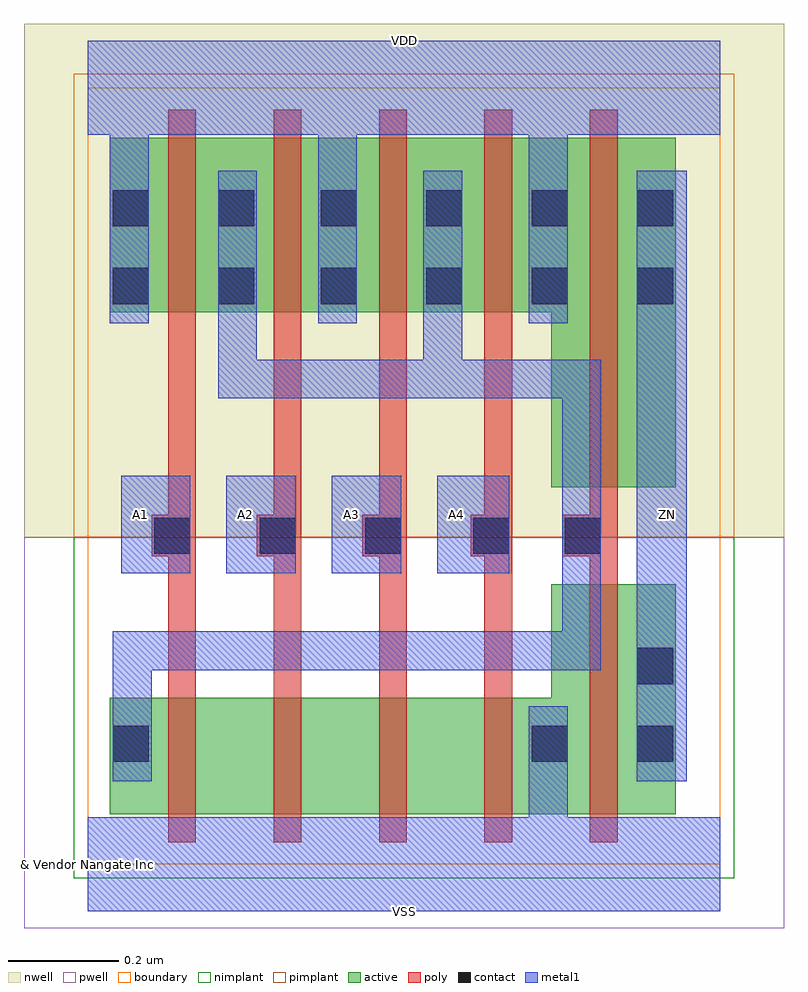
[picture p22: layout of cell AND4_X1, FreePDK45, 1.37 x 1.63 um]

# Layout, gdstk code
import gdstk
lib = gdstk.Library(unit=1e-6, precision=1e-10)
def R(c, l, rs):  # rectangles x0, y0, x1, y1
    for r in rs: c.add(gdstk.rectangle(r[:2], r[2:], *l))
def A(c, l, x, y, w, h, nx, ny, dx, dy):  # array of equal rectangles
    R(c, l, [(x+i*dx, y+j*dy, x+i*dx+w, y+j*dy+h) for i in range(nx) for j in range(ny)])
def P(c, l, *ps):  # polygons
    for p in ps: c.add(gdstk.Polygon(p, *l))
active = (1, 0)
pwell = (2, 0)
nwell = (3, 0)
nimplant = (4, 0)
pimplant = (5, 0)
poly = (9, 0)
contact = (10, 0)
metal1 = (11, 0)
boundary = (235, 0)

and4_x1 = lib.new_cell('AND4_X1')
P(and4_x1, active, [(0.04,0.09),(0.04,0.3),(0.835,0.3),(0.835,0.505),(1.06,0.505),(1.06,0.09)],
  [(0.835,0.68),(0.835,0.995),(0.04,0.995),(0.04,1.31),(1.06,1.31),(1.06,0.68)])
R(and4_x1, pwell, [(-0.115,-0.115,1.255,0.59)])
R(and4_x1, nwell, [(-0.115,0.59,1.255,1.515)])
R(and4_x1, nimplant, [(-0.025,-0.025,1.165,0.59)])
R(and4_x1, pimplant, [(-0.025,0.59,1.165,1.425)])
P(and4_x1, poly, [(0.145,0.04),(0.145,0.555),(0.115,0.555),(0.115,0.63),(0.145,0.63),(0.145,1.36),(0.195,1.36),(0.195,0.04)],
  [(0.335,0.04),(0.335,0.555),(0.305,0.555),(0.305,0.63),(0.335,0.63),(0.335,1.36),(0.385,1.36),(0.385,0.04)],
  [(0.525,0.04),(0.525,0.555),(0.495,0.555),(0.495,0.63),(0.525,0.63),(0.525,1.36),(0.575,1.36),(0.575,0.04)],
  [(0.715,0.04),(0.715,0.555),(0.69,0.555),(0.69,0.63),(0.715,0.63),(0.715,1.36),(0.765,1.36),(0.765,0.04)],
  [(0.905,0.04),(0.905,0.555),(0.855,0.555),(0.855,0.63),(0.905,0.63),(0.905,1.36),(0.955,1.36),(0.955,0.04)])
A(and4_x1, contact, 0.12, 0.56, 0.065, 0.065, 3, 1, 0.19, 0)
A(and4_x1, contact, 0.42, 1.01, 0.065, 0.065, 4, 2, 0.19, 0.14)
R(and4_x1, contact, [(0.045,0.185,0.11,0.25), (0.8,0.185,0.865,0.25), (0.99,0.185,1.055,0.25), (0.99,0.325,1.055,0.39), (0.695,0.56,0.76,0.625), (0.86,0.56,0.925,0.625), (0.045,1.01,0.11,1.075), (0.235,1.01,0.3,1.075), (0.045,1.15,0.11,1.215), (0.235,1.15,0.3,1.215)])
A(and4_x1, metal1, 0.06, 0.525, 0.125, 0.175, 3, 1, 0.19, 0)
R(and4_x1, metal1, [(0.99,0.15,1.08,1.25), (0.63,0.525,0.76,0.7)])
P(and4_x1, metal1, [(0.045,0.15),(0.045,0.42),(0.855,0.42),(0.855,0.84),(0.235,0.84),(0.235,1.25),(0.305,1.25),(0.305,0.91),(0.605,0.91),(0.605,1.25),(0.675,1.25),(0.675,0.91),(0.925,0.91),(0.925,0.35),(0.115,0.35),(0.115,0.15)],
  [(0,-0.085),(0,0.085),(0.795,0.085),(0.795,0.285),(0.865,0.285),(0.865,0.085),(1.14,0.085),(1.14,-0.085)],
  [(0.04,0.975),(0.04,1.315),(0,1.315),(0,1.485),(1.14,1.485),(1.14,1.315),(0.865,1.315),(0.865,0.975),(0.795,0.975),(0.795,1.315),(0.485,1.315),(0.485,0.975),(0.415,0.975),(0.415,1.315),(0.11,1.315),(0.11,0.975)])
R(and4_x1, boundary, [(0,0,1.14,1.4)])
and4_x1.add(gdstk.Label('A1', (0.095,0.63), layer=11, texttype=0))
and4_x1.add(gdstk.Label('A2', (0.285,0.63), layer=11, texttype=0))
and4_x1.add(gdstk.Label('A3', (0.475,0.63), layer=11, texttype=0))
and4_x1.add(gdstk.Label('A4', (0.665,0.63), layer=11, texttype=0))
and4_x1.add(gdstk.Label('VDD', (0.57,1.485), layer=11, texttype=0))
and4_x1.add(gdstk.Label('VSS', (0.57,-0.085), layer=11, texttype=0))
and4_x1.add(gdstk.Label('ZN', (1.045,0.63), layer=11, texttype=0))
and4_x1.add(gdstk.Label('& Vendor Nangate Inc', (0,0), layer=63, texttype=63))
and4_x1.add(gdstk.Label('& Product Open Cell Library', (0,0), layer=63, texttype=63))
and4_x1.add(gdstk.Label('& Version 2010_12', (0,0), layer=63, texttype=63))
and4_x1.add(gdstk.Label('& Instance AND4_X1', (0,0), layer=63, texttype=63))

lib.write_gds('AND4_X1.gds')
